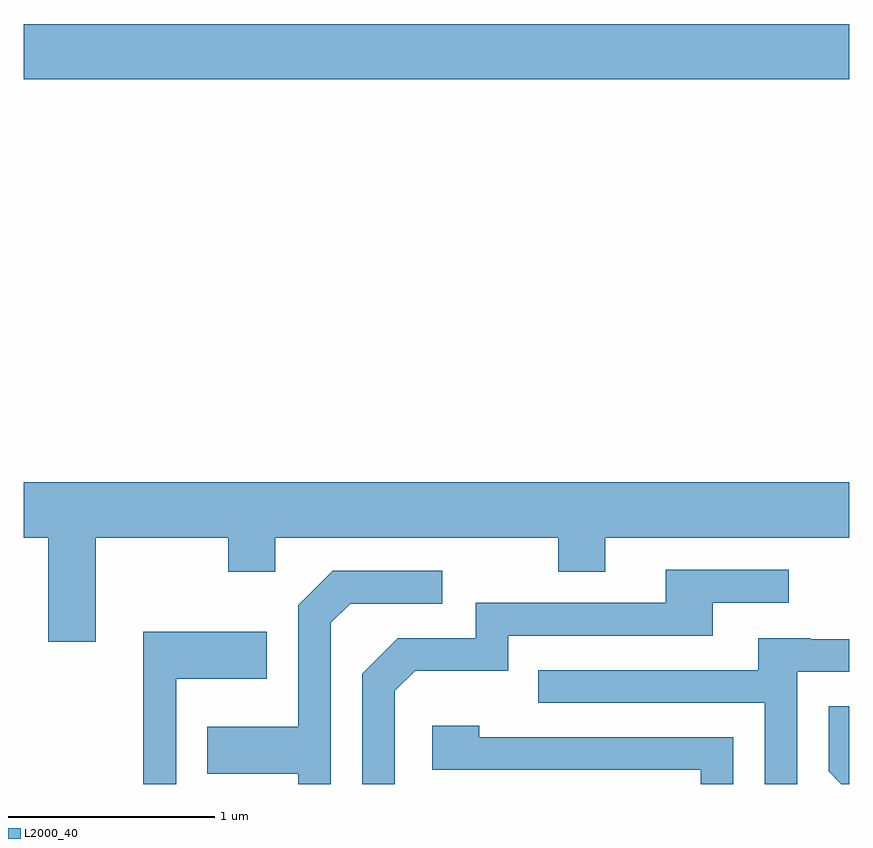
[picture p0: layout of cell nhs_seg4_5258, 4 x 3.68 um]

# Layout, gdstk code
import gdstk
lib = gdstk.Library(unit=1e-6, precision=1e-09)
def R(c, l, rs):  # rectangles x0, y0, x1, y1
    for r in rs: c.add(gdstk.rectangle(r[:2], r[2:], *l))
def P(c, l, *ps):  # polygons
    for p in ps: c.add(gdstk.Polygon(p, *l))
L2000_40 = (2000, 40)

nhs_seg4_5258 = lib.new_cell('nhs_seg4_5258')
R(nhs_seg4_5258, L2000_40, [(339.611,1301.396,343.611,1301.664)])
P(nhs_seg4_5258, L2000_40, [(339.611,1299.176),(339.731,1299.176),(339.731,1298.671),(339.959,1298.671),(339.959,1299.176),(340.601,1299.176),(340.601,1299.011),(340.829,1299.011),(340.829,1299.176),(342.201,1299.176),(342.201,1299.011),(342.429,1299.011),(342.429,1299.176),(343.611,1299.176),(343.611,1299.444),(339.611,1299.444)],
  [(341.409,1298.434),(341.507,1298.531),(341.959,1298.531),(341.959,1298.701),(342.949,1298.701),(342.949,1298.861),(343.318,1298.861),(343.318,1299.019),(342.721,1299.019),(342.721,1298.859),(341.801,1298.859),(341.801,1298.689),(341.424,1298.689),(341.251,1298.517),(341.251,1297.982),(341.409,1297.982)],
  [(341.099,1298.764),(341.192,1298.856),(341.638,1298.856),(341.638,1299.014),(341.109,1299.014),(340.941,1298.847),(340.941,1298.259),(340.501,1298.259),(340.501,1298.031),(340.941,1298.031),(340.941,1297.982),(341.099,1297.982)],
  [(340.349,1298.491),(340.789,1298.491),(340.789,1298.719),(340.191,1298.719),(340.191,1297.982),(340.349,1297.982)],
  [(343.359,1298.526),(343.611,1298.526),(343.611,1298.684),(343.425,1298.684),(343.425,1298.689),(343.171,1298.689),(343.171,1298.534),(342.103,1298.534),(342.103,1298.376),(343.201,1298.376),(343.201,1297.982),(343.359,1297.982)],
  [(343.611,1298.358),(343.511,1298.358),(343.511,1298.044),(343.573,1297.982),(343.611,1297.982)],
  [(343.049,1298.209),(341.819,1298.209),(341.819,1298.264),(341.591,1298.264),(341.591,1298.051),(342.891,1298.051),(342.891,1297.982),(343.049,1297.982)])

lib.write_gds('nhs_seg4_5258.gds')
